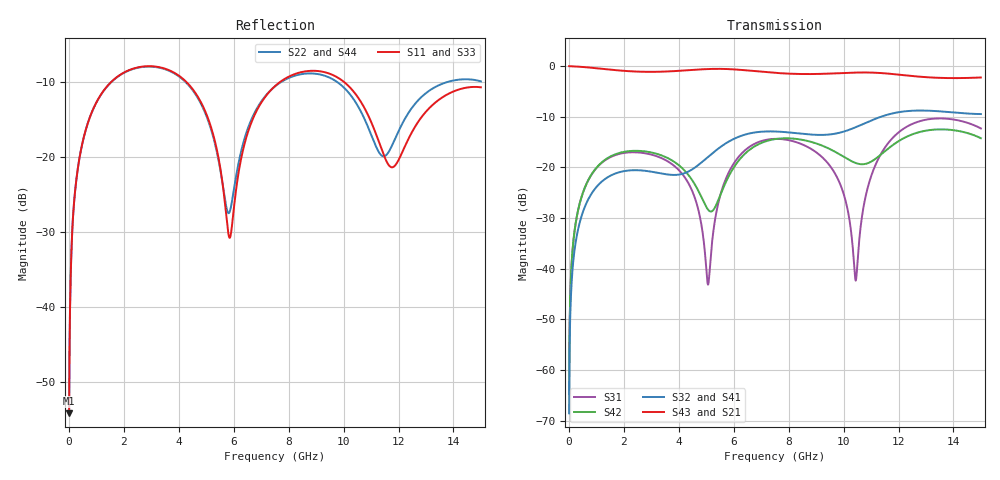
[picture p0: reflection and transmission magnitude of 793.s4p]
! Created with skrf 1.8.0 (http://scikit-rf.org).
# GHz S RI R 50.0
!freq ReS11 ImS11 ReS12 ImS12 ReS13 ImS13
! ReS14 ImS14
! ReS21 ImS21 ReS22 ImS22 ReS23 ImS23
! ReS24 ImS24
! ReS31 ImS31 ReS32 ImS32 ReS33 ImS33
! ReS34 ImS34
! ReS41 ImS41 ReS42 ImS42 ReS43 ImS43
! ReS44 ImS44
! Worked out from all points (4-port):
!   2499 points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, 5 MHz to 15 GHz, reference 50 ohm
!   strongest paths, dB at 5 MHz, 3.476 GHz, 7.19 GHz, 11.1 GHz, 15 GHz:
!     S43: 0.0, -1.1, -1.2, -1.3, -2.2
!     S21: 0.0, -1.1, -1.2, -1.3, -2.2
!     S32: -68.5, -21.3, -12.9, -10.5, -9.5
!     S41: -68.5, -21.3, -12.9, -10.5, -9.6
!     S42: -64.7, -17.9, -14.8, -18.5, -14.2
!     S31: -64.7, -18.4, -14.5, -20.3, -12.3
!   lowest |S11| = -54.2 dB at 5 MHz (marker M1), VSWR 1.00, Z = 50.2 + j0.118 ohm
!   |S11| at or under -10 dB: start of sweep to 1.554 GHz; 4.258 GHz to 7.711 GHz (3.453 GHz wide, 57.7 % of centre); 9.995 GHz to end of sweep
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0.005  0.00155 0.00118  0.9984 -0.00301  7.6e-05 0.000578  -7.42e-05 -0.000368
       0.9984 -0.00301  0.00155 0.00118  -7.42e-05 -0.000368  7.62e-05 0.000578
       7.6e-05 0.000578  -7.42e-05 -0.000368  0.00155 0.00118  0.9984 -0.00301
       -7.42e-05 -0.000368  7.62e-05 0.000578  0.9984 -0.00301  0.00155 0.00118
0.3126303  0.0218 0.078  0.9704 -0.1876  0.00911 0.0346  -0.00786 -0.0218
           0.9704 -0.1876  0.0217 0.078  -0.00787 -0.0218  0.00963 0.0345
           0.00911 0.0346  -0.00787 -0.0218  0.0218 0.078  0.9704 -0.1876
           -0.00786 -0.0218  0.00963 0.0345  0.9704 -0.1876  0.0217 0.078
1.519383  0.2484 0.1884  0.6002 -0.6993  0.1078 0.0667  -0.0818 -0.0144
          0.6002 -0.6993  0.2462 0.1897  -0.0819 -0.0143  0.1147 0.0585
          0.1078 0.0667  -0.0819 -0.0143  0.2483 0.1885  0.6002 -0.6993
          -0.0818 -0.0144  0.1147 0.0585  0.6002 -0.6993  0.2463 0.1896
5.627345  0.031 -0.0503  -0.925 -0.1541  0.00823 0.0666  -0.0273 0.1649
          -0.925 -0.1541  0.0437 -0.0411  -0.0251 0.1652  -0.0298 0.0562
          0.00823 0.0666  -0.0251 0.1652  0.0307 -0.0502  -0.925 -0.1542
          -0.0273 0.1649  -0.0298 0.0562  -0.925 -0.1542  0.0439 -0.0407
9.060025  0.3684 -0.0484  0.0316 0.8353  0.1283 -0.0492  0.1982 -0.063
          0.0316 0.8353  0.3524 -0.0396  0.1981 -0.0681  0.1222 -0.1189
          0.1283 -0.0492  0.1981 -0.0681  0.3661 -0.0468  0.0312 0.836
          0.1982 -0.063  0.1222 -0.1189  0.0312 0.836  0.3517 -0.0409
10.44185  0.1971 -0.1697  0.5938 0.6256  0.00684 0.00343  0.1778 -0.1746
          0.5938 0.6256  0.1871 -0.1328  0.1732 -0.1796  -0.0722 -0.0838
          0.00684 0.00343  0.1732 -0.1796  0.1946 -0.1677  0.5943 0.6262
          0.1778 -0.1746  -0.0722 -0.0838  0.5943 0.6262  0.1847 -0.1313
15  0.2843 -0.0534  0.0296 -0.7726  0.2041 -0.1313  -0.3254 0.0598
    0.0296 -0.7726  0.3052 -0.086  -0.3279 0.0752  0.1774 -0.0794
    0.2041 -0.1313  -0.3279 0.0752  0.2833 -0.0403  0.0318 -0.7714
    -0.3254 0.0598  0.1774 -0.0794  0.0318 -0.7714  0.3115 -0.0961
